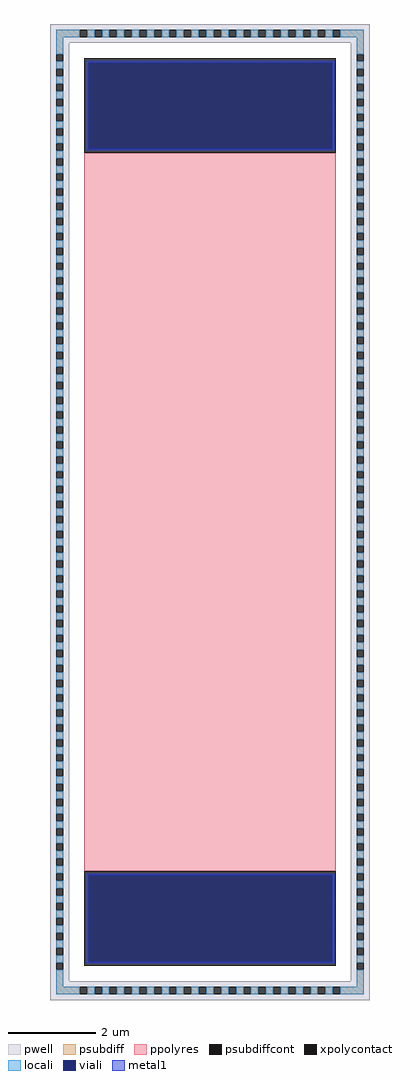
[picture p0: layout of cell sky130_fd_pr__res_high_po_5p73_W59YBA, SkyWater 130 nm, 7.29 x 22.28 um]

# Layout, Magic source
magic
tech sky130A
magscale 1 2
<< pwell >>
rect -729 2142 729 2228
rect -729 -2142 -643 2142
rect 643 -2142 729 2142
rect -729 -2228 729 -2142
<< psubdiff >>
rect -703 2168 -595 2202
rect -561 2168 -527 2202
rect -493 2168 -459 2202
rect -425 2168 -391 2202
rect -357 2168 -323 2202
rect -289 2168 -255 2202
rect -221 2168 -187 2202
rect -153 2168 -119 2202
rect -85 2168 -51 2202
rect -17 2168 17 2202
rect 51 2168 85 2202
rect 119 2168 153 2202
rect 187 2168 221 2202
rect 255 2168 289 2202
rect 323 2168 357 2202
rect 391 2168 425 2202
rect 459 2168 493 2202
rect 527 2168 561 2202
rect 595 2168 703 2202
rect -703 2091 -669 2168
rect 669 2091 703 2168
rect -703 2023 -669 2057
rect -703 1955 -669 1989
rect -703 1887 -669 1921
rect -703 1819 -669 1853
rect -703 1751 -669 1785
rect -703 1683 -669 1717
rect -703 1615 -669 1649
rect -703 1547 -669 1581
rect -703 1479 -669 1513
rect -703 1411 -669 1445
rect -703 1343 -669 1377
rect -703 1275 -669 1309
rect -703 1207 -669 1241
rect -703 1139 -669 1173
rect -703 1071 -669 1105
rect -703 1003 -669 1037
rect -703 935 -669 969
rect -703 867 -669 901
rect -703 799 -669 833
rect -703 731 -669 765
rect -703 663 -669 697
rect -703 595 -669 629
rect -703 527 -669 561
rect -703 459 -669 493
rect -703 391 -669 425
rect -703 323 -669 357
rect -703 255 -669 289
rect -703 187 -669 221
rect -703 119 -669 153
rect -703 51 -669 85
rect -703 -17 -669 17
rect -703 -85 -669 -51
rect -703 -153 -669 -119
rect -703 -221 -669 -187
rect -703 -289 -669 -255
rect -703 -357 -669 -323
rect -703 -425 -669 -391
rect -703 -493 -669 -459
rect -703 -561 -669 -527
rect -703 -629 -669 -595
rect -703 -697 -669 -663
rect -703 -765 -669 -731
rect -703 -833 -669 -799
rect -703 -901 -669 -867
rect -703 -969 -669 -935
rect -703 -1037 -669 -1003
rect -703 -1105 -669 -1071
rect -703 -1173 -669 -1139
rect -703 -1241 -669 -1207
rect -703 -1309 -669 -1275
rect -703 -1377 -669 -1343
rect -703 -1445 -669 -1411
rect -703 -1513 -669 -1479
rect -703 -1581 -669 -1547
rect -703 -1649 -669 -1615
rect -703 -1717 -669 -1683
rect -703 -1785 -669 -1751
rect -703 -1853 -669 -1819
rect -703 -1921 -669 -1887
rect -703 -1989 -669 -1955
rect -703 -2057 -669 -2023
rect 669 2023 703 2057
rect 669 1955 703 1989
rect 669 1887 703 1921
rect 669 1819 703 1853
rect 669 1751 703 1785
rect 669 1683 703 1717
rect 669 1615 703 1649
rect 669 1547 703 1581
rect 669 1479 703 1513
rect 669 1411 703 1445
rect 669 1343 703 1377
rect 669 1275 703 1309
rect 669 1207 703 1241
rect 669 1139 703 1173
rect 669 1071 703 1105
rect 669 1003 703 1037
rect 669 935 703 969
rect 669 867 703 901
rect 669 799 703 833
rect 669 731 703 765
rect 669 663 703 697
rect 669 595 703 629
rect 669 527 703 561
rect 669 459 703 493
rect 669 391 703 425
rect 669 323 703 357
rect 669 255 703 289
rect 669 187 703 221
rect 669 119 703 153
rect 669 51 703 85
rect 669 -17 703 17
rect 669 -85 703 -51
rect 669 -153 703 -119
rect 669 -221 703 -187
rect 669 -289 703 -255
rect 669 -357 703 -323
rect 669 -425 703 -391
rect 669 -493 703 -459
rect 669 -561 703 -527
rect 669 -629 703 -595
rect 669 -697 703 -663
rect 669 -765 703 -731
rect 669 -833 703 -799
rect 669 -901 703 -867
rect 669 -969 703 -935
rect 669 -1037 703 -1003
rect 669 -1105 703 -1071
rect 669 -1173 703 -1139
rect 669 -1241 703 -1207
rect 669 -1309 703 -1275
rect 669 -1377 703 -1343
rect 669 -1445 703 -1411
rect 669 -1513 703 -1479
rect 669 -1581 703 -1547
rect 669 -1649 703 -1615
rect 669 -1717 703 -1683
rect 669 -1785 703 -1751
rect 669 -1853 703 -1819
rect 669 -1921 703 -1887
rect 669 -1989 703 -1955
rect 669 -2057 703 -2023
rect -703 -2168 -669 -2091
rect 669 -2168 703 -2091
rect -703 -2202 -595 -2168
rect -561 -2202 -527 -2168
rect -493 -2202 -459 -2168
rect -425 -2202 -391 -2168
rect -357 -2202 -323 -2168
rect -289 -2202 -255 -2168
rect -221 -2202 -187 -2168
rect -153 -2202 -119 -2168
rect -85 -2202 -51 -2168
rect -17 -2202 17 -2168
rect 51 -2202 85 -2168
rect 119 -2202 153 -2168
rect 187 -2202 221 -2168
rect 255 -2202 289 -2168
rect 323 -2202 357 -2168
rect 391 -2202 425 -2168
rect 459 -2202 493 -2168
rect 527 -2202 561 -2168
rect 595 -2202 703 -2168
<< psubdiffcont >>
rect -595 2168 -561 2202
rect -527 2168 -493 2202
rect -459 2168 -425 2202
rect -391 2168 -357 2202
rect -323 2168 -289 2202
rect -255 2168 -221 2202
rect -187 2168 -153 2202
rect -119 2168 -85 2202
rect -51 2168 -17 2202
rect 17 2168 51 2202
rect 85 2168 119 2202
rect 153 2168 187 2202
rect 221 2168 255 2202
rect 289 2168 323 2202
rect 357 2168 391 2202
rect 425 2168 459 2202
rect 493 2168 527 2202
rect 561 2168 595 2202
rect -703 2057 -669 2091
rect -703 1989 -669 2023
rect -703 1921 -669 1955
rect -703 1853 -669 1887
rect -703 1785 -669 1819
rect -703 1717 -669 1751
rect -703 1649 -669 1683
rect -703 1581 -669 1615
rect -703 1513 -669 1547
rect -703 1445 -669 1479
rect -703 1377 -669 1411
rect -703 1309 -669 1343
rect -703 1241 -669 1275
rect -703 1173 -669 1207
rect -703 1105 -669 1139
rect -703 1037 -669 1071
rect -703 969 -669 1003
rect -703 901 -669 935
rect -703 833 -669 867
rect -703 765 -669 799
rect -703 697 -669 731
rect -703 629 -669 663
rect -703 561 -669 595
rect -703 493 -669 527
rect -703 425 -669 459
rect -703 357 -669 391
rect -703 289 -669 323
rect -703 221 -669 255
rect -703 153 -669 187
rect -703 85 -669 119
rect -703 17 -669 51
rect -703 -51 -669 -17
rect -703 -119 -669 -85
rect -703 -187 -669 -153
rect -703 -255 -669 -221
rect -703 -323 -669 -289
rect -703 -391 -669 -357
rect -703 -459 -669 -425
rect -703 -527 -669 -493
rect -703 -595 -669 -561
rect -703 -663 -669 -629
rect -703 -731 -669 -697
rect -703 -799 -669 -765
rect -703 -867 -669 -833
rect -703 -935 -669 -901
rect -703 -1003 -669 -969
rect -703 -1071 -669 -1037
rect -703 -1139 -669 -1105
rect -703 -1207 -669 -1173
rect -703 -1275 -669 -1241
rect -703 -1343 -669 -1309
rect -703 -1411 -669 -1377
rect -703 -1479 -669 -1445
rect -703 -1547 -669 -1513
rect -703 -1615 -669 -1581
rect -703 -1683 -669 -1649
rect -703 -1751 -669 -1717
rect -703 -1819 -669 -1785
rect -703 -1887 -669 -1853
rect -703 -1955 -669 -1921
rect -703 -2023 -669 -1989
rect -703 -2091 -669 -2057
rect 669 2057 703 2091
rect 669 1989 703 2023
rect 669 1921 703 1955
rect 669 1853 703 1887
rect 669 1785 703 1819
rect 669 1717 703 1751
rect 669 1649 703 1683
rect 669 1581 703 1615
rect 669 1513 703 1547
rect 669 1445 703 1479
rect 669 1377 703 1411
rect 669 1309 703 1343
rect 669 1241 703 1275
rect 669 1173 703 1207
rect 669 1105 703 1139
rect 669 1037 703 1071
rect 669 969 703 1003
rect 669 901 703 935
rect 669 833 703 867
rect 669 765 703 799
rect 669 697 703 731
rect 669 629 703 663
rect 669 561 703 595
rect 669 493 703 527
rect 669 425 703 459
rect 669 357 703 391
rect 669 289 703 323
rect 669 221 703 255
rect 669 153 703 187
rect 669 85 703 119
rect 669 17 703 51
rect 669 -51 703 -17
rect 669 -119 703 -85
rect 669 -187 703 -153
rect 669 -255 703 -221
rect 669 -323 703 -289
rect 669 -391 703 -357
rect 669 -459 703 -425
rect 669 -527 703 -493
rect 669 -595 703 -561
rect 669 -663 703 -629
rect 669 -731 703 -697
rect 669 -799 703 -765
rect 669 -867 703 -833
rect 669 -935 703 -901
rect 669 -1003 703 -969
rect 669 -1071 703 -1037
rect 669 -1139 703 -1105
rect 669 -1207 703 -1173
rect 669 -1275 703 -1241
rect 669 -1343 703 -1309
rect 669 -1411 703 -1377
rect 669 -1479 703 -1445
rect 669 -1547 703 -1513
rect 669 -1615 703 -1581
rect 669 -1683 703 -1649
rect 669 -1751 703 -1717
rect 669 -1819 703 -1785
rect 669 -1887 703 -1853
rect 669 -1955 703 -1921
rect 669 -2023 703 -1989
rect 669 -2091 703 -2057
rect -595 -2202 -561 -2168
rect -527 -2202 -493 -2168
rect -459 -2202 -425 -2168
rect -391 -2202 -357 -2168
rect -323 -2202 -289 -2168
rect -255 -2202 -221 -2168
rect -187 -2202 -153 -2168
rect -119 -2202 -85 -2168
rect -51 -2202 -17 -2168
rect 17 -2202 51 -2168
rect 85 -2202 119 -2168
rect 153 -2202 187 -2168
rect 221 -2202 255 -2168
rect 289 -2202 323 -2168
rect 357 -2202 391 -2168
rect 425 -2202 459 -2168
rect 493 -2202 527 -2168
rect 561 -2202 595 -2168
<< xpolycontact >>
rect -573 1640 573 2072
rect -573 -2072 573 -1640
<< ppolyres >>
rect -573 -1640 573 1640
<< locali >>
rect -703 2168 -595 2202
rect -561 2168 -527 2202
rect -493 2168 -459 2202
rect -425 2168 -391 2202
rect -357 2168 -323 2202
rect -289 2168 -255 2202
rect -221 2168 -187 2202
rect -153 2168 -119 2202
rect -85 2168 -51 2202
rect -17 2168 17 2202
rect 51 2168 85 2202
rect 119 2168 153 2202
rect 187 2168 221 2202
rect 255 2168 289 2202
rect 323 2168 357 2202
rect 391 2168 425 2202
rect 459 2168 493 2202
rect 527 2168 561 2202
rect 595 2168 703 2202
rect -703 2091 -669 2168
rect 669 2091 703 2168
rect -703 2023 -669 2057
rect -703 1955 -669 1989
rect -703 1887 -669 1921
rect -703 1819 -669 1853
rect -703 1751 -669 1785
rect -703 1683 -669 1717
rect -703 1615 -669 1649
rect 669 2023 703 2057
rect 669 1955 703 1989
rect 669 1887 703 1921
rect 669 1819 703 1853
rect 669 1751 703 1785
rect 669 1683 703 1717
rect -703 1547 -669 1581
rect -703 1479 -669 1513
rect -703 1411 -669 1445
rect -703 1343 -669 1377
rect -703 1275 -669 1309
rect -703 1207 -669 1241
rect -703 1139 -669 1173
rect -703 1071 -669 1105
rect -703 1003 -669 1037
rect -703 935 -669 969
rect -703 867 -669 901
rect -703 799 -669 833
rect -703 731 -669 765
rect -703 663 -669 697
rect -703 595 -669 629
rect -703 527 -669 561
rect -703 459 -669 493
rect -703 391 -669 425
rect -703 323 -669 357
rect -703 255 -669 289
rect -703 187 -669 221
rect -703 119 -669 153
rect -703 51 -669 85
rect -703 -17 -669 17
rect -703 -85 -669 -51
rect -703 -153 -669 -119
rect -703 -221 -669 -187
rect -703 -289 -669 -255
rect -703 -357 -669 -323
rect -703 -425 -669 -391
rect -703 -493 -669 -459
rect -703 -561 -669 -527
rect -703 -629 -669 -595
rect -703 -697 -669 -663
rect -703 -765 -669 -731
rect -703 -833 -669 -799
rect -703 -901 -669 -867
rect -703 -969 -669 -935
rect -703 -1037 -669 -1003
rect -703 -1105 -669 -1071
rect -703 -1173 -669 -1139
rect -703 -1241 -669 -1207
rect -703 -1309 -669 -1275
rect -703 -1377 -669 -1343
rect -703 -1445 -669 -1411
rect -703 -1513 -669 -1479
rect -703 -1581 -669 -1547
rect -703 -1649 -669 -1615
rect 669 1615 703 1649
rect 669 1547 703 1581
rect 669 1479 703 1513
rect 669 1411 703 1445
rect 669 1343 703 1377
rect 669 1275 703 1309
rect 669 1207 703 1241
rect 669 1139 703 1173
rect 669 1071 703 1105
rect 669 1003 703 1037
rect 669 935 703 969
rect 669 867 703 901
rect 669 799 703 833
rect 669 731 703 765
rect 669 663 703 697
rect 669 595 703 629
rect 669 527 703 561
rect 669 459 703 493
rect 669 391 703 425
rect 669 323 703 357
rect 669 255 703 289
rect 669 187 703 221
rect 669 119 703 153
rect 669 51 703 85
rect 669 -17 703 17
rect 669 -85 703 -51
rect 669 -153 703 -119
rect 669 -221 703 -187
rect 669 -289 703 -255
rect 669 -357 703 -323
rect 669 -425 703 -391
rect 669 -493 703 -459
rect 669 -561 703 -527
rect 669 -629 703 -595
rect 669 -697 703 -663
rect 669 -765 703 -731
rect 669 -833 703 -799
rect 669 -901 703 -867
rect 669 -969 703 -935
rect 669 -1037 703 -1003
rect 669 -1105 703 -1071
rect 669 -1173 703 -1139
rect 669 -1241 703 -1207
rect 669 -1309 703 -1275
rect 669 -1377 703 -1343
rect 669 -1445 703 -1411
rect 669 -1513 703 -1479
rect 669 -1581 703 -1547
rect -703 -1717 -669 -1683
rect -703 -1785 -669 -1751
rect -703 -1853 -669 -1819
rect -703 -1921 -669 -1887
rect -703 -1989 -669 -1955
rect -703 -2057 -669 -2023
rect 669 -1649 703 -1615
rect 669 -1717 703 -1683
rect 669 -1785 703 -1751
rect 669 -1853 703 -1819
rect 669 -1921 703 -1887
rect 669 -1989 703 -1955
rect 669 -2057 703 -2023
rect -703 -2168 -669 -2091
rect 669 -2168 703 -2091
rect -703 -2202 -595 -2168
rect -561 -2202 -527 -2168
rect -493 -2202 -459 -2168
rect -425 -2202 -391 -2168
rect -357 -2202 -323 -2168
rect -289 -2202 -255 -2168
rect -221 -2202 -187 -2168
rect -153 -2202 -119 -2168
rect -85 -2202 -51 -2168
rect -17 -2202 17 -2168
rect 51 -2202 85 -2168
rect 119 -2202 153 -2168
rect 187 -2202 221 -2168
rect 255 -2202 289 -2168
rect 323 -2202 357 -2168
rect 391 -2202 425 -2168
rect 459 -2202 493 -2168
rect 527 -2202 561 -2168
rect 595 -2202 703 -2168
<< viali >>
rect -557 1658 557 2052
rect -557 -2053 557 -1659
<< metal1 >>
rect -569 2052 569 2060
rect -569 1658 -557 2052
rect 557 1658 569 2052
rect -569 1651 569 1658
rect -569 -1659 569 -1651
rect -569 -2053 -557 -1659
rect 557 -2053 569 -1659
rect -569 -2060 569 -2053
<< properties >>
string FIXED_BBOX -686 -2185 686 2185
<< end >>
